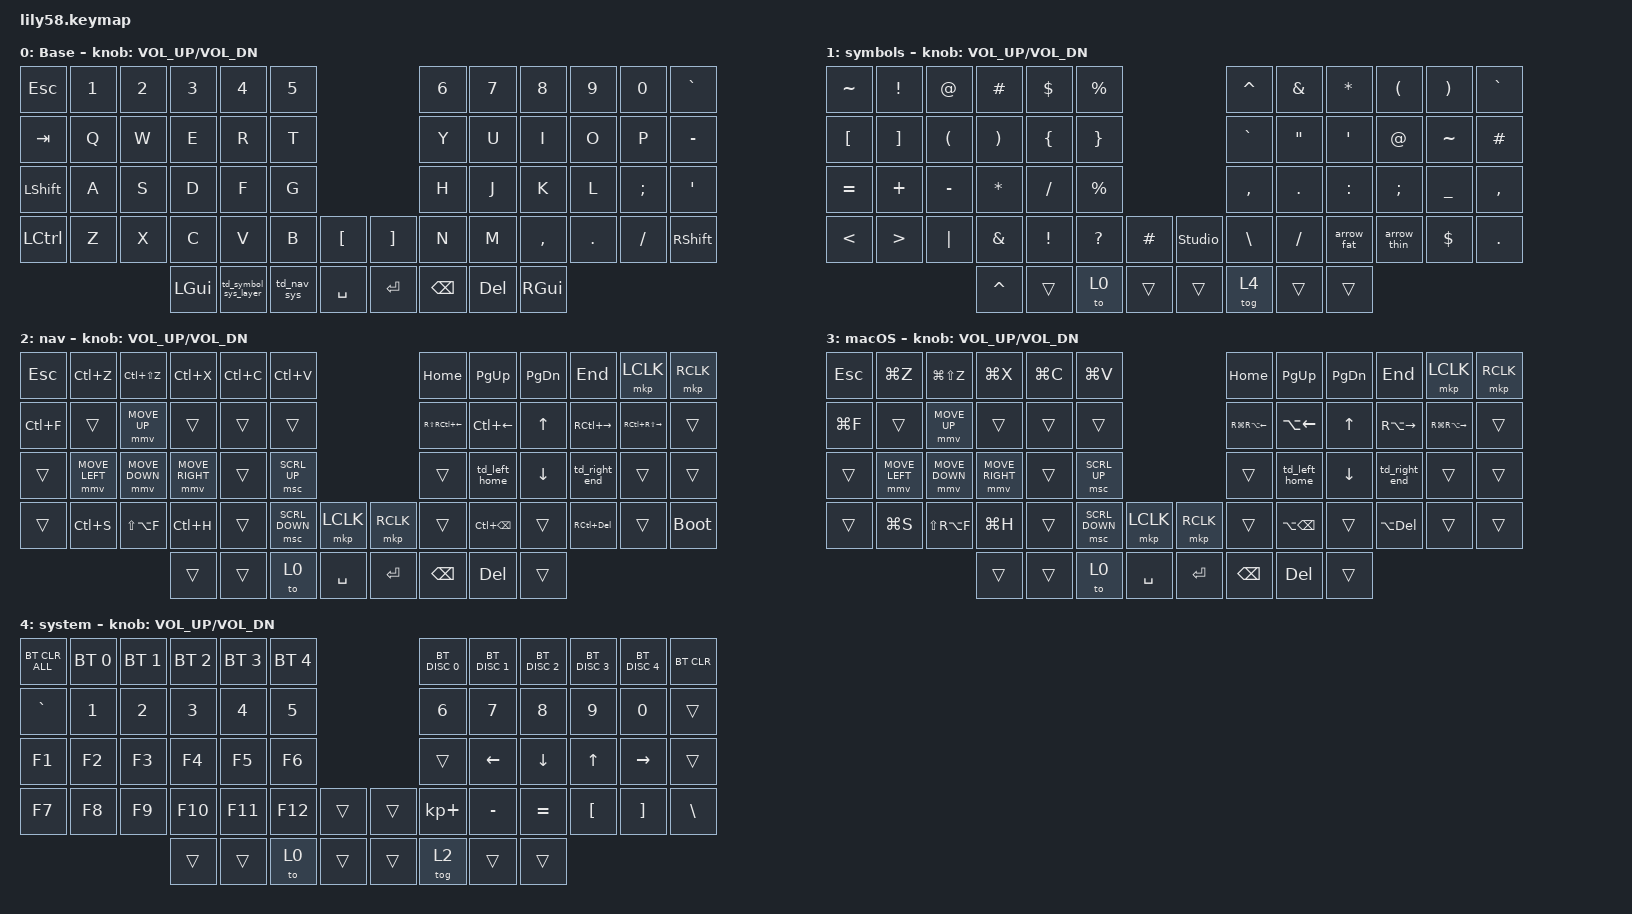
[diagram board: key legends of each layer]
/*
 * Copyright (c) 2020 The ZMK Contributors
 *
 * SPDX-License-Identifier: MIT
 */

#include <behaviors.dtsi>
#include <dt-bindings/zmk/bt.h>
#include <dt-bindings/zmk/keys.h>
#include <dt-bindings/zmk/pointing.h>

#define default_layer 0
#define lower_layer 1
#define raise_layer 2
#define adjust_layer 3
#define extra_layer 4

/ {
    behaviors {
        td_left_home: td_left_home {
            compatible = "zmk,behavior-tap-dance";
            label = "TD_LEFT_HOME";
            #binding-cells = <0>;
            bindings = <&kp LEFT_ARROW>, <&kp HOME>;
        };

        td_right_end: td_right_end {
            compatible = "zmk,behavior-tap-dance";
            label = "TD_RIGHT_END";
            #binding-cells = <0>;
            bindings = <&kp RIGHT>, <&kp END>;
        };

        td_nav_sys: td_nav_sys {
            compatible = "zmk,behavior-tap-dance";
            label = "TD_NAV_SYS";
            #binding-cells = <0>;
            bindings = <&tog 2>, <&to 3>;
        };

        td_symbol_sys_layer: td_symbol_sys_layer {
            compatible = "zmk,behavior-tap-dance";
            label = "TD_SYMBOL_SYS_LAYER";
            #binding-cells = <0>;
            bindings = <&tog 1>, <&to 4>;
        };
    };

    macros {
        arrow_fat: arrow_fat {
            compatible = "zmk,behavior-macro";
            #binding-cells = <0>;
            bindings = <&kp EQUAL &kp GREATER_THAN>;
            label = "ARROW_FAT";
        };

        arrow_thin: arrow_thin {
            compatible = "zmk,behavior-macro";
            #binding-cells = <0>;
            bindings = <&kp MINUS &kp GREATER_THAN>;
            label = "ARROW_THIN";
        };
    };

    keymap {
        compatible = "zmk,keymap";

        default_layer {
            display-name = "Base";

            // ------------------------------------------------------------------------------------------------------------
            // |  ESC  |  1  |  2  |  3   |  4   |  5   |                   |  6   |  7    |  8    |  9   |   0   |   `   |
            // |  TAB  |  Q  |  W  |  E   |  R   |  T   |                   |  Y   |  U    |  I    |  O   |   P   |   -   |
            // |  CTRL |  A  |  S  |  D   |  F   |  G   |                   |  H   |  J    |  K    |  L   |   ;   |   '   |
            // | SHIFT |  Z  |  X  |  C   |  V   |  B   |   "["  |  |  "]"  |  N   |  M    |  ,    |  .   |   /   | SHIFT |
            //                     | ALT  | GUI  | LOWER|  SPACE |  | ENTER | RAISE| BSPC  | GUI   |

            bindings = <
&kp ESC           &kp N1  &kp N2  &kp N3        &kp N4                &kp N5                               &kp N6         &kp N7      &kp N8     &kp N9   &kp N0         &kp GRAVE
&kp TAB           &kp Q   &kp W   &kp E         &kp R                 &kp T                                &kp Y          &kp U       &kp I      &kp O    &kp P          &kp MINUS
&kp LEFT_SHIFT    &kp A   &kp S   &kp D         &kp F                 &kp G                                &kp H          &kp J       &kp K      &kp L    &kp SEMICOLON  &kp SQT
&kp LEFT_CONTROL  &kp Z   &kp X   &kp C         &kp V                 &kp B        &kp LBKT     &kp RBKT   &kp N          &kp M       &kp COMMA  &kp DOT  &kp FSLH       &kp RSHFT
                                  &kp LEFT_GUI  &td_symbol_sys_layer  &td_nav_sys  &kp SPACE    &kp ENTER  &kp BACKSPACE  &kp DELETE  &kp RGUI
            >;

            sensor-bindings = <&inc_dec_kp C_VOL_UP C_VOL_DN>;
        };

        symbols {
            display-name = "symbols";

            // ------------------------------------------------------------------------------------------------------------
            // | BTCLR | BT1 | BT2 |  BT3 |  BT4 |  BT5 |                   |      |       |       |      |       |       |
            // |  F1   |  F2 |  F3 |  F4  |  F5  |  F6  |                   |  F7  |  F8   |  F9   |  F10 |  F11  |  F12  |
            // |   `   |  !  |  @  |  #   |  $   |  %   |                   |  ^   |  &    |  *    |  (   |   )   |   ~   |
            // |       |     |     |      |      |      |        |  |       |      |  _    |  +    |  {   |   }   |  "|"  |
            //                     |      |      |      |        |  |       |      |       |       |

            bindings = <
&kp TILDE         &kp EXCLAMATION    &kp AT_SIGN           &kp HASH               &kp DOLLAR       &kp PERCENT                                  &kp CARET      &kp AMPERSAND      &kp ASTERISK      &kp LEFT_PARENTHESIS  &kp RIGHT_PARENTHESIS  &kp GRAVE
&kp LEFT_BRACKET  &kp RIGHT_BRACKET  &kp LEFT_PARENTHESIS  &kp RIGHT_PARENTHESIS  &kp LEFT_BRACE   &kp RIGHT_BRACE                              &kp GRAVE      &kp DOUBLE_QUOTES  &kp SINGLE_QUOTE  &kp AT_SIGN           &kp TILDE              &kp HASH
&kp EQUAL         &kp PLUS           &kp MINUS             &kp ASTERISK           &kp SLASH        &kp PERCENT                                  &kp COMMA      &kp PERIOD         &kp COLON         &kp SEMICOLON         &kp UNDERSCORE         &kp COMMA
&kp LESS_THAN     &kp GREATER_THAN   &kp PIPE              &kp AMPERSAND          &kp EXCLAMATION  &kp QUESTION     &kp HASH    &studio_unlock  &kp BACKSLASH  &kp SLASH          &arrow_fat        &arrow_thin           &kp DOLLAR             &kp PERIOD
                                                           &kp CARET              &trans           &to 0            &trans      &trans          &tog 4         &trans             &trans
            >;

            sensor-bindings = <&inc_dec_kp C_VOL_UP C_VOL_DN>;
        };

        nav {
            display-name = "nav";

            // ------------------------------------------------------------------------------------------------------------
            // |       |     |     |      |      |      |                   |      |       |       |      |       |       |
            // |   `   |  1  |  2  |  3   |  4   |  5   |                   |  6   |   7   |   8   |  9   |   0   |       |
            // |   F1  |  F2 |  F3 |  F4  |  F5  |  F6  |                   |      |   <-  |   v   |  ^   |  ->   |       |
            // |   F7  |  F8 |  F9 |  F10 |  F11 |  F12 |        |  |       |  +   |   -   |   =   |  [   |   ]   |   \   |
            //                     |      |      |      |        |  |       |      |       |       |

            bindings = <
&kp ESC    &kp LC(Z)       &kp LC(LS(Z))   &kp LC(X)        &kp LC(C)  &kp LC(V)                               &kp HOME          &kp PAGE_UP        &kp PAGE_DOWN  &kp END         &mkp LCLK          &mkp RCLK
&kp LC(F)  &trans          &mmv MOVE_UP    &trans           &trans     &trans                                  &kp RS(RC(LEFT))  &kp LC(LEFT)       &kp UP_ARROW   &kp RC(RIGHT)   &kp RC(RS(RIGHT))  &trans
&trans     &mmv MOVE_LEFT  &mmv MOVE_DOWN  &mmv MOVE_RIGHT  &trans     &msc SCRL_UP                            &trans            &td_left_home      &kp DOWN       &td_right_end   &trans             &trans
&trans     &kp LC(S)       &kp LS(LA(F))   &kp LC(H)        &trans     &msc SCRL_DOWN  &mkp LCLK    &mkp RCLK  &trans            &kp LC(BACKSPACE)  &trans         &kp RC(DELETE)  &trans             &bootloader
                                           &trans           &trans     &to 0           &kp SPACE    &kp ENTER  &kp BACKSPACE     &kp DEL            &trans
            >;

            sensor-bindings = <&inc_dec_kp C_VOL_UP C_VOL_DN>;
        };

        macOS {
            display-name = "macOS";

            // ------------------------------------------------------------------------------------------------------------
            // |       |     |     |      |      |      |                   |      |       |       |      |       |       |
            // |   `   |  1  |  2  |  3   |  4   |  5   |                   |  6   |   7   |   8   |  9   |   0   |       |
            // |   F1  |  F2 |  F3 |  F4  |  F5  |  F6  |                   |      |   <-  |   v   |  ^   |  ->   |       |
            // |   F7  |  F8 |  F9 |  F10 |  F11 |  F12 |        |  |       |  +   |   -   |   =   |  [   |   ]   |   \   |
            //                     |      |      |      |        |  |       |      |       |       |

            bindings = <
&kp ESC    &kp LG(Z)       &kp LG(LS(Z))   &kp LG(X)        &kp LG(C)  &kp LG(V)                               &kp HOME                &kp PAGE_UP         &kp PAGE_DOWN  &kp END         &mkp LCLK          &mkp RCLK
&kp LG(F)  &trans          &mmv MOVE_UP    &trans           &trans     &trans                                  &kp RG(RA(LEFT_ARROW))  &kp LA(LEFT_ARROW)  &kp UP_ARROW   &kp RA(RIGHT)   &kp RG(RA(RIGHT))  &trans
&trans     &mmv MOVE_LEFT  &mmv MOVE_DOWN  &mmv MOVE_RIGHT  &trans     &msc SCRL_UP                            &trans                  &td_left_home       &kp DOWN       &td_right_end   &trans             &trans
&trans     &kp LG(S)       &kp LS(RA(F))   &kp LG(H)        &trans     &msc SCRL_DOWN  &mkp LCLK    &mkp RCLK  &trans                  &kp LA(BACKSPACE)   &trans         &kp LA(DELETE)  &trans             &trans
                                           &trans           &trans     &to 0           &kp SPACE    &kp ENTER  &kp BACKSPACE           &kp DELETE          &trans
            >;

            sensor-bindings = <&inc_dec_kp C_VOL_UP C_VOL_DN>;
        };

        system {
            display-name = "system";

            // ------------------------------------------------------------------------------------------------------------
            // |       |     |     |      |      |      |                   |      |       |       |      |       |       |
            // |   `   |  1  |  2  |  3   |  4   |  5   |                   |  6   |   7   |   8   |  9   |   0   |       |
            // |   F1  |  F2 |  F3 |  F4  |  F5  |  F6  |                   |      |   <-  |   v   |  ^   |  ->   |       |
            // |   F7  |  F8 |  F9 |  F10 |  F11 |  F12 |        |  |       |  +   |   -   |   =   |  [   |   ]   |   \   |
            //                     |      |      |      |        |  |       |      |       |       |

            bindings = <
&bt BT_CLR_ALL  &bt BT_SEL 0  &bt BT_SEL 1  &bt BT_SEL 2  &bt BT_SEL 3  &bt BT_SEL 4                    &bt BT_DISC 0  &bt BT_DISC 1  &bt BT_DISC 2  &bt BT_DISC 3  &bt BT_DISC 4  &bt BT_CLR
&kp GRAVE       &kp N1        &kp N2        &kp N3        &kp N4        &kp N5                          &kp N6         &kp N7         &kp N8         &kp N9         &kp N0         &trans
&kp F1          &kp F2        &kp F3        &kp F4        &kp F5        &kp F6                          &trans         &kp LEFT       &kp DOWN       &kp UP         &kp RIGHT      &trans
&kp F7          &kp F8        &kp F9        &kp F10       &kp F11       &kp F12       &trans    &trans  &kp KP_PLUS    &kp MINUS      &kp EQUAL      &kp LBKT       &kp RBKT       &kp BSLH
                                            &trans        &trans        &to 0         &trans    &trans  &tog 2         &trans         &trans
            >;

            sensor-bindings = <&inc_dec_kp C_VOL_UP C_VOL_DN>;
        };
    };
};
